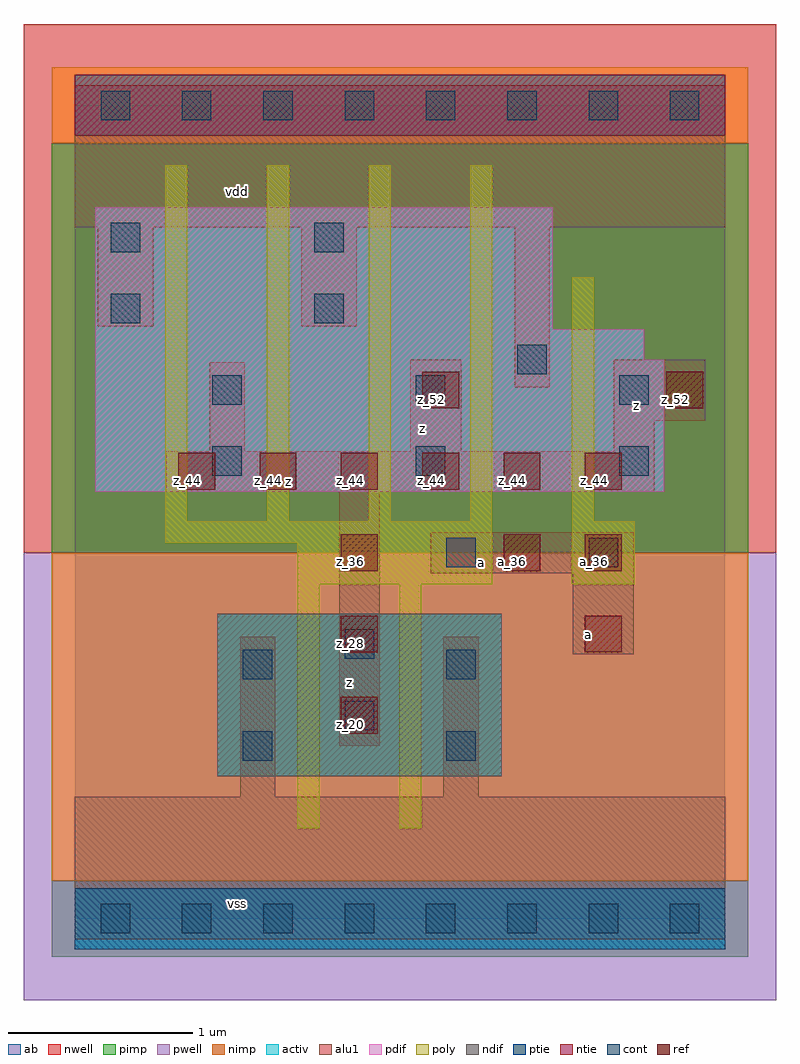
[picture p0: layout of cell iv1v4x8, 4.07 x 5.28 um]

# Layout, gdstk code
import gdstk
lib = gdstk.Library(unit=1e-6, precision=2.5e-09)
def R(c, l, rs):  # rectangles x0, y0, x1, y1
    for r in rs: c.add(gdstk.rectangle(r[:2], r[2:], *l))
def A(c, l, x, y, w, h, nx, ny, dx, dy):  # array of equal rectangles
    R(c, l, [(x+i*dx, y+j*dy, x+i*dx+w, y+j*dy+h) for i in range(nx) for j in range(ny)])
ndif = (3, 0)
pdif = (4, 0)
ntie = (5, 0)
ptie = (6, 0)
ref = (24, 0)
cont = (25, 0)
pwell = (41, 0)
nwell = (42, 0)
activ = (43, 0)
pimp = (44, 0)
nimp = (45, 0)
poly = (46, 0)
alu1 = (49, 0)
ab = (63, 0)

iv1v4x8 = lib.new_cell('iv1v4x8')
R(iv1v4x8, ndif, [(0.77,0.77,2.31,1.65)])
R(iv1v4x8, pdif, [(0.11,2.31,3.19,3.025), (0.11,3.025,3.08,3.19), (0.11,3.19,2.585,3.85)])
R(iv1v4x8, ntie, [(0,4.235,3.52,4.565)])
R(iv1v4x8, ptie, [(0,-0.165,3.52,0.165)])
A(iv1v4x8, ref, 1.44, 1, 0.2, 0.2, 1, 3, 0, 0.44)
A(iv1v4x8, ref, 0.56, 2.32, 0.2, 0.2, 6, 1, 0.44, 0)
R(iv1v4x8, ref, [(2.76,1.44,2.96,1.64), (2.32,1.88,2.52,2.08), (2.76,1.88,2.96,2.08), (1.88,2.76,2.08,2.96), (3.2,2.76,3.4,2.96)])
A(iv1v4x8, cont, 0.14, -0.08, 0.16, 0.16, 8, 2, 0.44, 4.4)
A(iv1v4x8, cont, 0.745, 2.395, 0.16, 0.16, 3, 2, 1.1, 0.385)
R(iv1v4x8, cont, [(0.91,0.855,1.07,1.015), (2.01,0.855,2.17,1.015), (1.46,1.02,1.62,1.18), (0.91,1.295,1.07,1.455), (2.01,1.295,2.17,1.455), (1.46,1.405,1.62,1.565), (2.01,1.9,2.17,2.06), (2.78,1.9,2.94,2.06), (2.395,2.945,2.555,3.105), (0.195,3.22,0.355,3.38), (1.295,3.22,1.455,3.38), (0.195,3.605,0.355,3.765), (1.295,3.605,1.455,3.765)])
R(iv1v4x8, pwell, [(-0.275,-0.44,3.795,1.98)])
R(iv1v4x8, nwell, [(-0.275,1.98,3.795,4.84)])
R(iv1v4x8, activ, [(0,-0.165,3.52,0.165), (0.77,0.77,2.31,1.65), (0.11,2.31,3.19,3.025), (0.11,3.025,3.08,3.19), (0.11,3.19,2.585,3.85), (0,4.235,3.52,4.565)])
R(iv1v4x8, pimp, [(-0.125,-0.205,3.645,0.205), (-0.125,1.98,3.645,4.195)])
R(iv1v4x8, nimp, [(-0.125,0.205,3.645,1.98), (-0.125,4.195,3.645,4.605)])
A(iv1v4x8, poly, 0.49, 2.15, 0.12, 1.925, 4, 1, 0.55, 0)
R(iv1v4x8, poly, [(1.205,0.49,1.325,1.81), (1.755,0.49,1.875,1.81), (1.205,1.81,2.26,2.03), (2.69,1.81,3.03,2.15), (0.49,2.03,2.26,2.15), (2.69,2.15,2.81,3.47)])
R(iv1v4x8, alu1, [(0,-0.11,3.52,0.66), (0.895,0.66,1.085,1.525), (1.995,0.66,2.185,1.525), (1.43,0.935,1.65,2.31), (2.695,1.43,3.025,1.87), (1.925,1.87,3.025,2.09), (0.495,2.31,3.135,2.53), (0.73,2.53,0.92,3.01), (1.815,2.53,2.09,3.025), (2.915,2.53,3.135,2.695), (2.915,2.695,3.41,3.025), (2.38,2.875,2.57,3.74), (0.125,3.205,0.425,3.74), (1.225,3.205,1.525,3.74), (0,3.74,3.52,4.51)])
R(iv1v4x8, ab, [(0,0,3.52,4.4)])
iv1v4x8.add(gdstk.Label('vss', (0.88,0.0825), layer=49, texttype=0))
iv1v4x8.add(gdstk.Label('a', (2.7775,1.54), layer=49, texttype=0))
iv1v4x8.add(gdstk.Label('a', (2.2,1.925), layer=49, texttype=0))
iv1v4x8.add(gdstk.Label('z', (1.485,1.2775), layer=49, texttype=0))
iv1v4x8.add(gdstk.Label('z', (1.155,2.365), layer=49, texttype=0))
iv1v4x8.add(gdstk.Label('z', (3.0375,2.7775), layer=49, texttype=0))
iv1v4x8.add(gdstk.Label('z', (1.8825,2.6525), layer=49, texttype=0))
iv1v4x8.add(gdstk.Label('vdd', (0.88,3.9325), layer=49, texttype=0))
iv1v4x8.add(gdstk.Label('z_44', (0.61,2.37), layer=24, texttype=0))
iv1v4x8.add(gdstk.Label('z_44', (1.05,2.37), layer=24, texttype=0))
iv1v4x8.add(gdstk.Label('z_20', (1.49,1.05), layer=24, texttype=0))
iv1v4x8.add(gdstk.Label('z_28', (1.49,1.49), layer=24, texttype=0))
iv1v4x8.add(gdstk.Label('z_36', (1.49,1.93), layer=24, texttype=0))
iv1v4x8.add(gdstk.Label('z_44', (1.49,2.37), layer=24, texttype=0))
iv1v4x8.add(gdstk.Label('z_44', (1.93,2.37), layer=24, texttype=0))
iv1v4x8.add(gdstk.Label('z_52', (1.93,2.81), layer=24, texttype=0))
iv1v4x8.add(gdstk.Label('a_36', (2.37,1.93), layer=24, texttype=0))
iv1v4x8.add(gdstk.Label('z_44', (2.37,2.37), layer=24, texttype=0))
iv1v4x8.add(gdstk.Label('a_28', (2.81,1.49), layer=24, texttype=0))
iv1v4x8.add(gdstk.Label('a_36', (2.81,1.93), layer=24, texttype=0))
iv1v4x8.add(gdstk.Label('z_44', (2.81,2.37), layer=24, texttype=0))
iv1v4x8.add(gdstk.Label('z_52', (3.25,2.81), layer=24, texttype=0))

lib.write_gds('iv1v4x8.gds')
